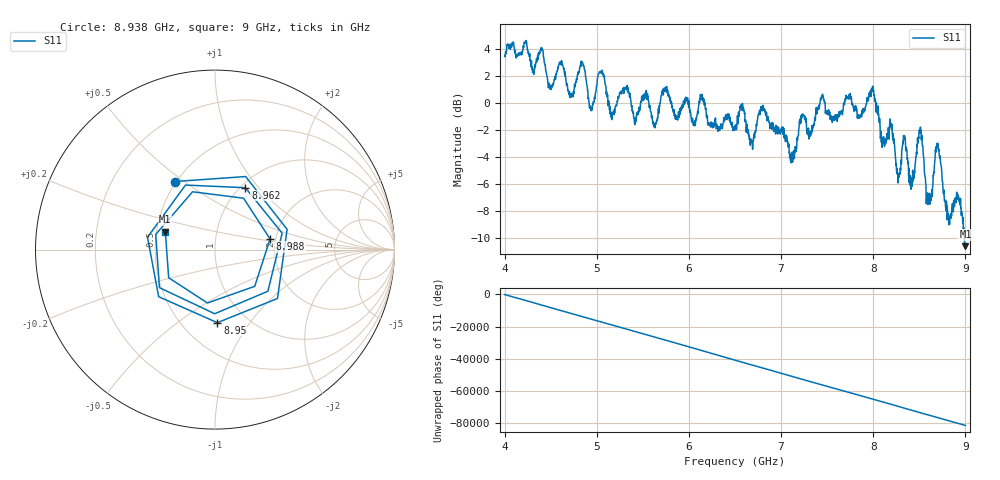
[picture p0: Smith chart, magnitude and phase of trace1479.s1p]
! Created with skrf 1.8.0 (http://scikit-rf.org).
# Hz S RI R 50.0
!freq ReS11 ImS11
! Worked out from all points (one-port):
!   1601 points, 4 GHz to 9 GHz, reference 50 ohm
!   lowest |S11| = -10.6 dB at 9 GHz (marker M1), VSWR 1.83, Z = 27.8 + j6.09 ohm
!   |S11| at or under -10 dB: 8.987006 GHz to end of sweep
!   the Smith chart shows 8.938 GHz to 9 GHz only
!   S11 on the Smith chart (normalised r, x): 8.938 GHz: 0.49, +0.46; 8.95 GHz: 0.73, -0.71; 8.962 GHz: 1.05, +0.85; 8.988 GHz: 1.86, +0.24; 9 GHz: 0.56, +0.12
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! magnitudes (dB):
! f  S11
! 4 GHz  3.4
! 4.625 GHz  2.9
! 4.725 GHz  0.7
! 4.85 GHz  2.8
! 4.941 GHz  -0.4
! 5.041 GHz  2.2
! 5.162 GHz  -1.3
! 5.25 GHz  0.7
! 5.875 GHz  -1.2
! 6.5 GHz  -1.9
! 6.688 GHz  -2.9
! 6.803 GHz  -0.2
! 7.125 GHz  -4.4
! 7.225 GHz  -0.9
! 7.75 GHz  0.7
! 7.988 GHz  1.0
! 8.272 GHz  -5.5
! 8.375 GHz  -4.5
! 8.422 GHz  -5.5
! 8.506 GHz  -2.3
! 8.6 GHz  -7.3
! 8.7 GHz  -3.0
! 8.809 GHz  -8.5
! 8.938 GHz  -7.1
! 8.95 GHz  -7.8
! 8.962 GHz  -8.3
! 8.988 GHz  -10.1
! 9 GHz  -10.6
